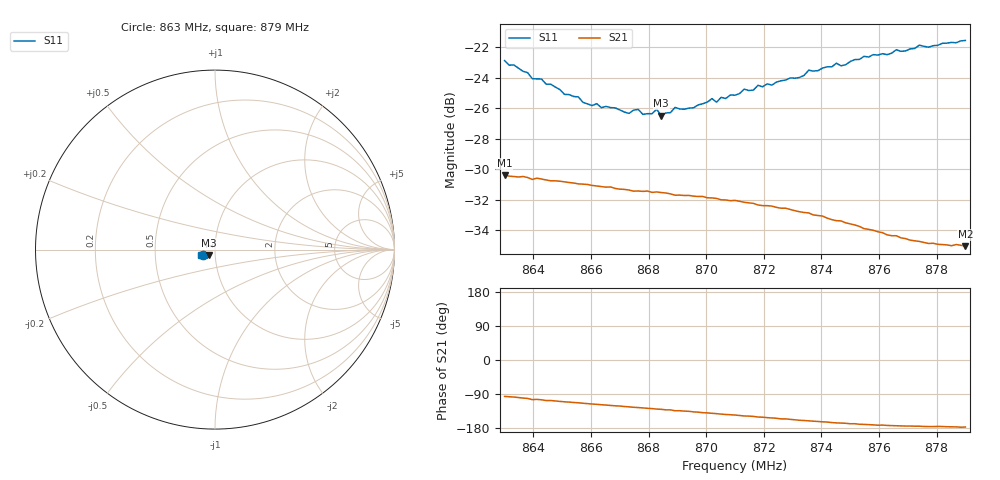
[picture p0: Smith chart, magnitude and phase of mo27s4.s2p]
# HZ S RI R 50
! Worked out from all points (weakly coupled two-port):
!   101 points, 863 MHz to 879 MHz, reference 50 ohm
!   highest |S21| = -30.40 dB at 863 MHz (marker M1); lowest = -35.0 dB at 879 MHz (marker M2)
!   lowest |S11| = -26.5 dB at 868.44 MHz (marker M3), VSWR 1.10, Z = 46.5 - j2.92 ohm
!   |S11| at or under -10 dB: start of sweep to end of sweep
!   S12 and S22 are empty: the file has one direction only
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8.63e8  -0.0656 -0.0293  -0.00318 -0.03  0 0  0 0
8.6396e8  -0.0569 -0.0263  -0.00736 -0.0284  0 0  0 0
8.6428e8  -0.0563 -0.0271  -0.00763 -0.0284  0 0  0 0
8.6572e8  -0.0455 -0.0261  -0.0116 -0.0258  0 0  0 0
8.6732e8  -0.0391 -0.0283  -0.015 -0.0225  0 0  0 0
8.6764e8  -0.0393 -0.0304  -0.0156 -0.0219  0 0  0 0
8.678e8  -0.0382 -0.0288  -0.0159 -0.0215  0 0  0 0
8.6812e8  -0.0375 -0.0302  -0.0164 -0.0209  0 0  0 0
8.6828e8  -0.0373 -0.0329  -0.0169 -0.0206  0 0  0 0
8.6844e8  -0.0355 -0.0314  -0.0171 -0.0203  0 0  0 0
8.6892e8  -0.0376 -0.0336  -0.018 -0.0187  0 0  0 0
8.6956e8  -0.0362 -0.035  -0.0189 -0.0176  0 0  0 0
8.702e8  -0.037 -0.0392  -0.0197 -0.0162  0 0  0 0
8.7036e8  -0.0362 -0.038  -0.0199 -0.0158  0 0  0 0
8.71e8  -0.0372 -0.041  -0.0205 -0.0143  0 0  0 0
8.7132e8  -0.039 -0.0428  -0.0208 -0.0132  0 0  0 0
8.7164e8  -0.0386 -0.0426  -0.0209 -0.0126  0 0  0 0
8.718e8  -0.0407 -0.0435  -0.021 -0.0119  0 0  0 0
8.7372e8  -0.0466 -0.0473  -0.0212 -0.00714  0 0  0 0
8.7644e8  -0.0623 -0.0435  -0.019 -0.00229  0 0  0 0
8.774e8  -0.0694 -0.0412  -0.0183 -0.00171  0 0  0 0
8.79e8  -0.0771 -0.0324  -0.0177 -0.000967  0 0  0 0
